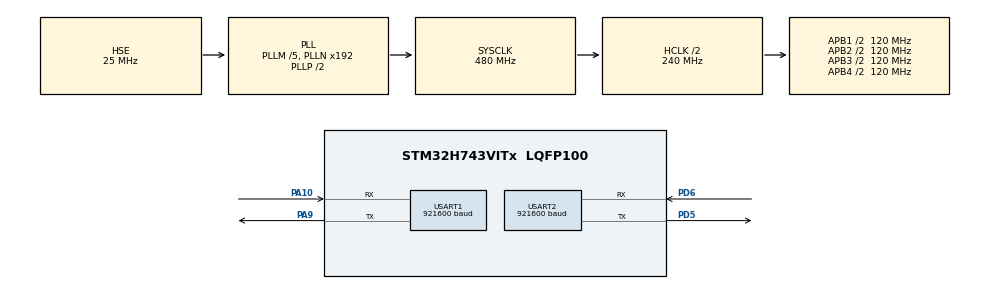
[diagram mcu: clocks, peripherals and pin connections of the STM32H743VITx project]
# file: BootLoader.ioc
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CORTEX_M7.default_mode_Activation=1
CRC.InputDataFormat=CRC_INPUTDATA_FORMAT_WORDS
Dma.Request0=USART1_RX
Dma.Request1=USART1_TX
Dma.Request2=USART2_RX
Dma.Request3=USART2_TX
Dma.USART1_RX.0.Direction=DMA_PERIPH_TO_MEMORY
Dma.USART1_RX.0.EventEnable=DISABLE
Dma.USART1_RX.0.FIFOMode=DMA_FIFOMODE_DISABLE
Dma.USART1_RX.0.Instance=DMA2_Stream0
Dma.USART1_RX.0.MemDataAlignment=DMA_MDATAALIGN_BYTE
Dma.USART1_RX.0.MemInc=DMA_MINC_ENABLE
Dma.USART1_RX.0.Mode=DMA_NORMAL
Dma.USART1_RX.0.PeriphDataAlignment=DMA_PDATAALIGN_BYTE
Dma.USART1_RX.0.PeriphInc=DMA_PINC_DISABLE
Dma.USART1_RX.0.Polarity=HAL_DMAMUX_REQ_GEN_RISING
Dma.USART1_RX.0.Priority=DMA_PRIORITY_LOW
Dma.USART1_RX.0.RequestNumber=1
Dma.USART1_RX.0.SignalID=NONE
Dma.USART1_RX.0.SyncEnable=DISABLE
Dma.USART1_RX.0.SyncPolarity=HAL_DMAMUX_SYNC_NO_EVENT
Dma.USART1_RX.0.SyncRequestNumber=1
Dma.USART1_RX.0.SyncSignalID=NONE
Dma.USART1_TX.1.Direction=DMA_MEMORY_TO_PERIPH
Dma.USART1_TX.1.EventEnable=DISABLE
Dma.USART1_TX.1.FIFOMode=DMA_FIFOMODE_DISABLE
Dma.USART1_TX.1.Instance=DMA2_Stream1
Dma.USART1_TX.1.MemDataAlignment=DMA_MDATAALIGN_BYTE
Dma.USART1_TX.1.MemInc=DMA_MINC_ENABLE
Dma.USART1_TX.1.Mode=DMA_NORMAL
Dma.USART1_TX.1.PeriphDataAlignment=DMA_PDATAALIGN_BYTE
Dma.USART1_TX.1.PeriphInc=DMA_PINC_DISABLE
Dma.USART1_TX.1.Polarity=HAL_DMAMUX_REQ_GEN_RISING
Dma.USART1_TX.1.Priority=DMA_PRIORITY_LOW
Dma.USART1_TX.1.RequestNumber=1
Dma.USART1_TX.1.SignalID=NONE
Dma.USART1_TX.1.SyncEnable=DISABLE
Dma.USART1_TX.1.SyncPolarity=HAL_DMAMUX_SYNC_NO_EVENT
Dma.USART1_TX.1.SyncRequestNumber=1
Dma.USART1_TX.1.SyncSignalID=NONE
Dma.USART2_RX.2.Direction=DMA_PERIPH_TO_MEMORY
Dma.USART2_RX.2.EventEnable=DISABLE
Dma.USART2_RX.2.FIFOMode=DMA_FIFOMODE_DISABLE
Dma.USART2_RX.2.Instance=DMA2_Stream4
Dma.USART2_RX.2.MemDataAlignment=DMA_MDATAALIGN_BYTE
Dma.USART2_RX.2.MemInc=DMA_MINC_ENABLE
Dma.USART2_RX.2.Mode=DMA_NORMAL
Dma.USART2_RX.2.PeriphDataAlignment=DMA_PDATAALIGN_BYTE
Dma.USART2_RX.2.PeriphInc=DMA_PINC_DISABLE
Dma.USART2_RX.2.Polarity=HAL_DMAMUX_REQ_GEN_RISING
Dma.USART2_RX.2.Priority=DMA_PRIORITY_LOW
Dma.USART2_RX.2.RequestNumber=1
Dma.USART2_RX.2.SignalID=NONE
Dma.USART2_RX.2.SyncEnable=DISABLE
Dma.USART2_RX.2.SyncPolarity=HAL_DMAMUX_SYNC_NO_EVENT
Dma.USART2_RX.2.SyncRequestNumber=1
Dma.USART2_RX.2.SyncSignalID=NONE
Dma.USART2_TX.3.Direction=DMA_MEMORY_TO_PERIPH
Dma.USART2_TX.3.EventEnable=DISABLE
Dma.USART2_TX.3.FIFOMode=DMA_FIFOMODE_DISABLE
Dma.USART2_TX.3.Instance=DMA2_Stream5
Dma.USART2_TX.3.MemDataAlignment=DMA_MDATAALIGN_BYTE
Dma.USART2_TX.3.MemInc=DMA_MINC_ENABLE
Dma.USART2_TX.3.Mode=DMA_NORMAL
Dma.USART2_TX.3.PeriphDataAlignment=DMA_PDATAALIGN_BYTE
Dma.USART2_TX.3.PeriphInc=DMA_PINC_DISABLE
Dma.USART2_TX.3.Polarity=HAL_DMAMUX_REQ_GEN_RISING
Dma.USART2_TX.3.Priority=DMA_PRIORITY_LOW
Dma.USART2_TX.3.RequestNumber=1
Dma.USART2_TX.3.SignalID=NONE
Dma.USART2_TX.3.SyncEnable=DISABLE
Dma.USART2_TX.3.SyncPolarity=HAL_DMAMUX_SYNC_NO_EVENT
Dma.USART2_TX.3.SyncRequestNumber=1
Dma.USART2_TX.3.SyncSignalID=NONE
IWDG1.Prescaler=IWDG_PRESCALER_64
Mcu.Family=STM32H7
Mcu.Name=STM32H743VITx
Mcu.Package=LQFP100
NVIC.DMA2_Stream0_IRQn=true\:5\:0\:true\:false\:true\:false\:true\:true
NVIC.DMA2_Stream1_IRQn=true\:5\:0\:true\:false\:true\:false\:true\:true
NVIC.DMA2_Stream4_IRQn=true\:5\:0\:true\:false\:true\:false\:true\:true
NVIC.DMA2_Stream5_IRQn=true\:5\:0\:true\:false\:true\:false\:true\:true
NVIC.PriorityGroup=NVIC_PRIORITYGROUP_4
NVIC.USART1_IRQn=true\:5\:0\:true\:false\:true\:true\:true\:true
NVIC.USART2_IRQn=true\:0\:0\:false\:false\:true\:true\:true\:true
PA10.Mode=Asynchronous
PA10.Signal=USART1_RX
PA13\ (JTMS/SWDIO).Mode=Serial_Wire
PA13\ (JTMS/SWDIO).Signal=DEBUG_JTMS-SWDIO
PA14\ (JTCK/SWCLK).Mode=Serial_Wire
PA14\ (JTCK/SWCLK).Signal=DEBUG_JTCK-SWCLK
PA9.Mode=Asynchronous
PA9.Signal=USART1_TX
PD5.Mode=Asynchronous
PD5.Signal=USART2_TX
PD6.Mode=Asynchronous
PD6.Signal=USART2_RX
PH0-OSC_IN\ (PH0).Mode=HSE-External-Oscillator
PH0-OSC_IN\ (PH0).Signal=RCC_OSC_IN
PH1-OSC_OUT\ (PH1).Mode=HSE-External-Oscillator
PH1-OSC_OUT\ (PH1).Signal=RCC_OSC_OUT
ProjectManager.HeapSize=0x200
ProjectManager.StackSize=0x400
ProjectManager.TargetToolchain=MDK-ARM V5
RCC.ADCFreq_Value=50390625
RCC.APB1Freq_Value=120000000
RCC.APB2Freq_Value=120000000
RCC.APB3Freq_Value=120000000
RCC.APB4Freq_Value=120000000
RCC.CortexFreq_Value=480000000
RCC.D1PPRE=RCC_APB3_DIV2
RCC.D2PPRE1=RCC_APB1_DIV2
RCC.D2PPRE2=RCC_APB2_DIV2
RCC.D3PPRE=RCC_APB4_DIV2
RCC.DIVM1=5
RCC.DIVN1=192
RCC.HCLKFreq_Value=240000000
RCC.HPRE=RCC_HCLK_DIV2
RCC.HSE_VALUE=25000000
RCC.PLL2FRACN=0
RCC.PLL3FRACN=0
RCC.PLLFRACN=0
RCC.PLLSourceVirtual=RCC_PLLSOURCE_HSE
RCC.SYSCLKFreq_VALUE=480000000
RCC.SYSCLKSource=RCC_SYSCLKSOURCE_PLLCLK
RCC.USBFreq_Value=480000000
USART1.BaudRate=921600
USART1.Parity=PARITY_ODD
USART1.StopBits=STOPBITS_2
USART1.VirtualMode-Asynchronous=VM_ASYNC
USART1.WordLength=WORDLENGTH_9B
USART2.BaudRate=921600
USART2.Parity=PARITY_EVEN
USART2.StopBits=STOPBITS_2
USART2.VirtualMode-Asynchronous=VM_ASYNC
USART2.WordLength=WORDLENGTH_9B
VP_CRC_VS_CRC.Mode=CRC_Activate
VP_IWDG1_VS_IWDG.Mode=IWDG_Activate
VP_MEMORYMAP_VS_MEMORYMAP.Mode=CurAppReg
board=custom

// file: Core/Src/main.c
/* USER CODE BEGIN Header */
/**
 ******************************************************************************
 * @file           : main.c
 * @brief          : Main program body
 ******************************************************************************
 * @attention
 *
 * Copyright (c) 2025 STMicroelectronics.
 * All rights reserved.
 *
 * This software is licensed under terms that can be found in the LICENSE file
 * in the root directory of this software component.
 * If no LICENSE file comes with this software, it is provided AS-IS.
 *
 ******************************************************************************
 */
/* USER CODE END Header */
#include "main.h"
#include "crc.h"
#include "dma.h"
#include "memorymap.h"
#include "usart.h"
#include "gpio.h"

/* USER CODE BEGIN Includes */
#include "stdio.h"
#include "string.h"
#include "global_cfg.h"
#include "flash.h"
#include "stdarg.h"
#include "JumpApp.h"
#include "PC_interface.h"
#include "protocol_comm.h"
/* USER CODE END Includes */

/* USER CODE BEGIN PV */
mem_cfg_t mem_cfg = {

    .bootloader_address = BL_ADDR,
    .app_address = APP1_ADDR,
    .cfg_address = CFG_ADDR,
};

uart_para_t uart1_para = {
    .huart = &huart1,
    .tail = 0,
    .pktcplt = 0,
    .rxbuf = {0},
};
uart_para_t uart2_para = {
    .huart = &huart2,
    .tail = 0,
    .pktcplt = 0,
    .rxbuf = {0},
};
/* USER CODE END PV */

void SystemClock_Config(void);
static void MPU_Config(void);

/* USER CODE BEGIN 0 */
uint32_t test_size = 0;
void crc_test_func()
{
  if (test_size != 0)
  {
    uint32_t _crc = HAL_CRC_Calculate(&hcrc, mem_cfg.app_address, (test_size + 3) / 4);
    info_printf("CRC of APP1 size 0x%X: 0x%08X\r\n", test_size, _crc);
    test_size = 0;
  }
}

/* USER CODE END 0 */

int main(void)
{

  /* MPU Configuration--------------------------------------------------------*/
  MPU_Config();

  /* MCU Configuration--------------------------------------------------------*/

  /* Reset of all peripherals, Initializes the Flash interface and the Systick. */
  HAL_Init();

  /* Configure the system clock */
  SystemClock_Config();

  /* Initialize all configured peripherals */
  MX_GPIO_Init();
  MX_DMA_Init();
  MX_USART1_UART_Init();
  MX_USART2_UART_Init();
  MX_CRC_Init();
  /* USER CODE BEGIN 2 */
  info_printf("BootLoader Running...\r\n");
  info_printf("Read Config...\r\n");
  mem_cfg_init();
  mem_cfg_show();
  info_printf("Check App...\r\n");
  // HAL_FLASH_Unlock();
  // FLASH_Erase(mem_cfg.app_address);
  // HAL_FLASH_Lock();
  Check_Jump_to_APP();

  upgrade_ini();
  Enable_UART1_Receive();
  Enable_UART2_Receive();
  // uint32_t ttxx = 0x00ff1b00;
  // uint32_t crc_ttxx = HAL_CRC_Calculate(&hcrc, &ttxx, 1);
  // info_printf("crc(0x00ff1b00) = 0x%x\r\n",crc_ttxx);
  // ttxx = 0xff001bdd;
  // crc_ttxx = HAL_CRC_Accumulate(&hcrc, &ttxx, 1);
  // info_printf("crc(0xff001bdd) = 0x%x\r\n",crc_ttxx);
  /* USER CODE END 2 */

  /* Infinite loop */
  /* USER CODE BEGIN WHILE */
  while (1)
  {

    parse_and_execute_command(&uart1_para, exec_commands_list2);
    parse_and_execute_command(&uart2_para, exec_commands_list1);
    Delay_ms(1);
    // crc_test_func();

    /* USER CODE END WHILE */

  }
}

void SystemClock_Config(void)
{
  RCC_OscInitTypeDef RCC_OscInitStruct = {0};
  RCC_ClkInitTypeDef RCC_ClkInitStruct = {0};

  /** Supply configuration update enable
  */
  HAL_PWREx_ConfigSupply(PWR_LDO_SUPPLY);

  /** Configure the main internal regulator output voltage
  */
  __HAL_PWR_VOLTAGESCALING_CONFIG(PWR_REGULATOR_VOLTAGE_SCALE0);

  while(!__HAL_PWR_GET_FLAG(PWR_FLAG_VOSRDY)) {}

  /** Initializes the RCC Oscillators according to the specified parameters
  * in the RCC_OscInitTypeDef structure.
  */
  RCC_OscInitStruct.OscillatorType = RCC_OSCILLATORTYPE_LSI|RCC_OSCILLATORTYPE_HSE;
  RCC_OscInitStruct.HSEState = RCC_HSE_ON;
  RCC_OscInitStruct.LSIState = RCC_LSI_ON;
  RCC_OscInitStruct.PLL.PLLState = RCC_PLL_ON;
  RCC_OscInitStruct.PLL.PLLSource = RCC_PLLSOURCE_HSE;
  RCC_OscInitStruct.PLL.PLLM = 5;
  RCC_OscInitStruct.PLL.PLLN = 192;
  RCC_OscInitStruct.PLL.PLLP = 2;
  RCC_OscInitStruct.PLL.PLLQ = 2;
  RCC_OscInitStruct.PLL.PLLR = 2;
  RCC_OscInitStruct.PLL.PLLRGE = RCC_PLL1VCIRANGE_2;
  RCC_OscInitStruct.PLL.PLLVCOSEL = RCC_PLL1VCOWIDE;
  RCC_OscInitStruct.PLL.PLLFRACN = 0;
  if (HAL_RCC_OscConfig(&RCC_OscInitStruct) != HAL_OK)
  {
    Error_Handler();
  }

  /** Initializes the CPU, AHB and APB buses clocks
  */
  RCC_ClkInitStruct.ClockType = RCC_CLOCKTYPE_HCLK|RCC_CLOCKTYPE_SYSCLK
                              |RCC_CLOCKTYPE_PCLK1|RCC_CLOCKTYPE_PCLK2
                              |RCC_CLOCKTYPE_D3PCLK1|RCC_CLOCKTYPE_D1PCLK1;
  RCC_ClkInitStruct.SYSCLKSource = RCC_SYSCLKSOURCE_PLLCLK;
  RCC_ClkInitStruct.SYSCLKDivider = RCC_SYSCLK_DIV1;
  RCC_ClkInitStruct.AHBCLKDivider = RCC_HCLK_DIV2;
  RCC_ClkInitStruct.APB3CLKDivider = RCC_APB3_DIV2;
  RCC_ClkInitStruct.APB1CLKDivider = RCC_APB1_DIV2;
  RCC_ClkInitStruct.APB2CLKDivider = RCC_APB2_DIV2;
  RCC_ClkInitStruct.APB4CLKDivider = RCC_APB4_DIV2;

  if (HAL_RCC_ClockConfig(&RCC_ClkInitStruct, FLASH_LATENCY_4) != HAL_OK)
  {
    Error_Handler();
  }
}

 /* MPU Configuration */

void MPU_Config(void)
{
  MPU_Region_InitTypeDef MPU_InitStruct = {0};

  /* Disables the MPU */
  HAL_MPU_Disable();

  /** Initializes and configures the Region and the memory to be protected
  */
  MPU_InitStruct.Enable = MPU_REGION_ENABLE;
  MPU_InitStruct.Number = MPU_REGION_NUMBER0;
  MPU_InitStruct.BaseAddress = 0x0;
  MPU_InitStruct.Size = MPU_REGION_SIZE_4GB;
  MPU_InitStruct.SubRegionDisable = 0x87;
  MPU_InitStruct.TypeExtField = MPU_TEX_LEVEL0;
  MPU_InitStruct.AccessPermission = MPU_REGION_NO_ACCESS;
  MPU_InitStruct.DisableExec = MPU_INSTRUCTION_ACCESS_DISABLE;
  MPU_InitStruct.IsShareable = MPU_ACCESS_SHAREABLE;
  MPU_InitStruct.IsCacheable = MPU_ACCESS_NOT_CACHEABLE;
  MPU_InitStruct.IsBufferable = MPU_ACCESS_NOT_BUFFERABLE;

  HAL_MPU_ConfigRegion(&MPU_InitStruct);
  /* Enables the MPU */
  HAL_MPU_Enable(MPU_PRIVILEGED_DEFAULT);

}

void Error_Handler(void)
{
  __disable_irq();
  while (1)
  {
  }
}
